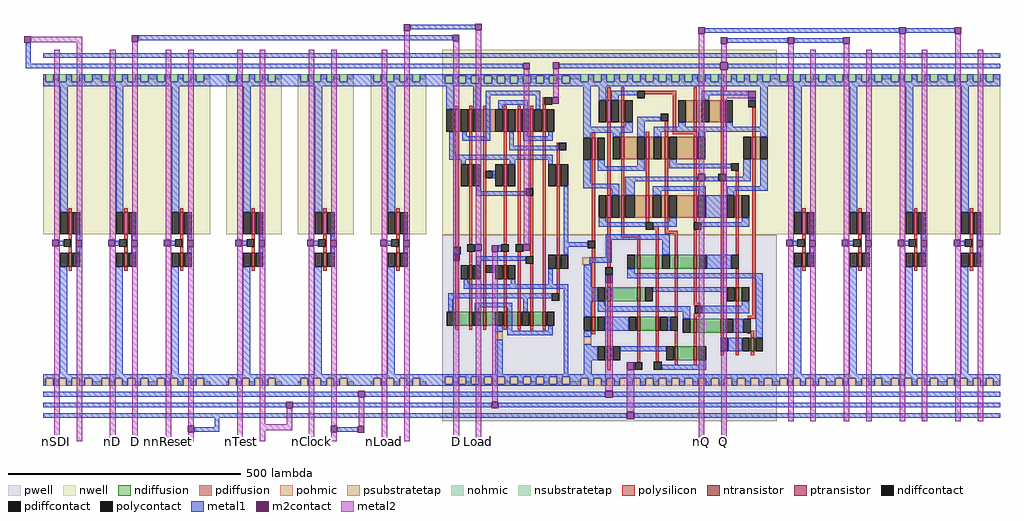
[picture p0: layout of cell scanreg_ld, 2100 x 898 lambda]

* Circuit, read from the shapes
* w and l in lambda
.subckt scanreg_ld Clock D GND! Load Q SDI Test Vdd! nClock nD nLoad nQ nReset nSDI nTest nnReset
M1 SDI nSDI GND! VSUBS nfet w=30 l=7
M2 D nD GND! VSUBS nfet w=30 l=7
M3 nReset nnReset GND! VSUBS nfet w=30 l=7
M4 Test nTest GND! VSUBS nfet w=30 l=7
M5 Clock nClock GND! VSUBS nfet w=30 l=7
M6 Load nLoad GND! VSUBS nfet w=30 l=7
M7 n1 D n2 VSUBS nfet w=30 l=7
M8 n3 Load n1 VSUBS nfet w=30 l=7
M9 n4 Load GND! VSUBS nfet w=30 l=7
M10 n5 n6 n3 VSUBS nfet w=30 l=7
M11 n7 Test n5 VSUBS nfet w=30 l=7
M12 GND! Test n6 VSUBS nfet w=30 l=7
M13 n2 SDI n7 VSUBS nfet w=30 l=7
M14 n8 n4 n2 VSUBS nfet w=30 l=7
M15 n3 Q n8 VSUBS nfet w=30 l=7
M16 n9 n2 GND! VSUBS nfet w=30 l=7
M17 n10 n9 n11 VSUBS nfet w=30 l=7
M18 n12 Clock GND! VSUBS nfet w=30 l=7
M19 n13 Clock n11 VSUBS nfet w=30 l=7
M20 n14 nReset n10 VSUBS nfet w=30 l=7
M21 n15 nReset n13 VSUBS nfet w=30 l=7
M22 n16 nReset n17 VSUBS nfet w=30 l=7
M23 n18 n19 n14 VSUBS nfet w=30 l=7
M24 n11 n19 n16 VSUBS nfet w=30 l=7
M25 n20 n18 n12 VSUBS nfet w=30 l=7
M26 n21 n18 n11 VSUBS nfet w=30 l=7
M27 n19 n22 n20 VSUBS nfet w=30 l=7
M28 n23 n22 n11 VSUBS nfet w=30 l=7
M29 n24 n22 n21 VSUBS nfet w=30 l=7
M30 Q nQ n23 VSUBS nfet w=30 l=7
M31 n22 n24 n15 VSUBS nfet w=30 l=7
M32 n17 Q nQ VSUBS nfet w=30 l=7
M33 inv_5/Y Q GND! VSUBS nfet w=30 l=7
M34 inv_6/Y Q GND! VSUBS nfet w=30 l=7
M35 inv_7/Y nQ GND! VSUBS nfet w=30 l=7
M36 inv_8/Y nQ GND! VSUBS nfet w=30 l=7
M37 SDI nSDI Vdd! n25 pfet w=48 l=7
M38 D nD Vdd! n25 pfet w=48 l=7
M39 nReset nnReset Vdd! n25 pfet w=48 l=7
M40 Test nTest Vdd! n26 pfet w=48 l=7
M41 Clock nClock Vdd! n27 pfet w=48 l=7
M42 Load nLoad Vdd! n28 pfet w=48 l=7
M43 n29 D Vdd! n30 pfet w=48 l=7
M44 n4 Load Vdd! n30 pfet w=48 l=7
M45 Vdd! Load n29 n30 pfet w=48 l=7
M46 n31 n6 Vdd! n30 pfet w=48 l=7
M47 Vdd! Test n6 n30 pfet w=48 l=7
M48 n2 Test n31 n30 pfet w=48 l=7
M49 n31 SDI n2 n30 pfet w=48 l=7
M50 n29 n4 n31 n30 pfet w=48 l=7
M51 n31 Q n29 n30 pfet w=48 l=7
M52 n9 n2 Vdd! n30 pfet w=48 l=7
M53 n18 n9 Vdd! n30 pfet w=48 l=7
M54 Vdd! Clock n19 n30 pfet w=48 l=7
M55 n22 Clock Vdd! n30 pfet w=48 l=7
M56 nQ nReset Vdd! n30 pfet w=48 l=7
M57 n18 nReset Vdd! n30 pfet w=48 l=7
M58 Vdd! nReset n22 n30 pfet w=48 l=7
M59 Vdd! n19 nQ n30 pfet w=48 l=7
M60 Vdd! n19 n18 n30 pfet w=48 l=7
M61 n19 n18 Vdd! n30 pfet w=48 l=7
M62 n24 n18 Vdd! n30 pfet w=48 l=7
M63 Vdd! n22 n19 n30 pfet w=48 l=7
M64 Vdd! n22 n24 n30 pfet w=48 l=7
M65 Q n22 Vdd! n30 pfet w=48 l=7
M66 Vdd! nQ Q n30 pfet w=48 l=7
M67 n22 n24 Vdd! n30 pfet w=48 l=7
M68 Vdd! Q nQ n30 pfet w=48 l=7
M69 inv_5/Y Q Vdd! n30 pfet w=48 l=7
M70 inv_6/Y Q Vdd! n30 pfet w=48 l=7
M71 inv_7/Y nQ Vdd! n30 pfet w=48 l=7
M72 inv_8/Y nQ Vdd! n30 pfet w=48 l=7
.ends

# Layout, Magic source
magic
tech c035u
<< pwell >>
rect 1452 0 1464 43
rect 1500 0 1512 43
<< metal1 >>
rect 831 886 971 896
rect 1465 879 1883 889
rect 1897 879 2003 889
rect 246 863 922 873
rect 4 812 14 857
rect 1513 857 1643 867
rect 1657 857 1763 867
rect 401 825 435 835
rect 555 825 589 835
rect 709 825 746 835
rect 866 825 900 835
rect 4 802 41 812
rect 401 802 435 812
rect 555 802 589 812
rect 709 802 746 812
rect 866 802 900 812
rect 401 764 435 789
rect 555 764 589 789
rect 709 764 746 789
rect 866 764 900 789
rect 401 119 435 144
rect 555 119 589 144
rect 709 119 746 144
rect 866 119 900 144
rect 401 96 435 106
rect 555 96 589 106
rect 709 96 719 106
rect 733 96 746 106
rect 866 96 900 106
rect 401 73 435 83
rect 555 73 564 83
rect 578 73 589 83
rect 709 73 746 83
rect 866 73 900 83
rect 401 50 435 60
rect 555 50 589 60
rect 709 50 746 60
rect 866 50 900 60
rect 410 30 420 50
rect 366 20 420 30
rect 674 20 718 30
<< m2contact >>
rect 817 883 831 897
rect 971 884 985 898
rect 1451 877 1465 891
rect 1883 877 1897 891
rect 2003 877 2017 891
rect 0 857 14 871
rect 232 859 246 873
rect 922 861 936 875
rect 1499 855 1513 869
rect 1643 855 1657 869
rect 1763 855 1777 869
rect 719 94 733 108
rect 564 71 578 85
rect 352 19 366 33
rect 660 19 674 33
rect 718 18 732 32
<< metal2 >>
rect 14 858 125 870
rect 113 842 125 858
rect 233 842 245 859
rect 818 842 830 883
rect 924 842 936 861
rect 972 842 984 884
rect 1452 842 1464 877
rect 1500 842 1512 855
rect 1644 842 1656 855
rect 1764 842 1776 855
rect 1884 842 1896 877
rect 2004 842 2016 877
rect 65 0 77 43
rect 113 0 125 43
rect 185 0 197 43
rect 233 0 245 43
rect 305 0 317 43
rect 353 33 365 43
rect 353 0 365 19
rect 459 0 471 43
rect 507 36 519 43
rect 565 36 577 71
rect 507 24 577 36
rect 507 0 519 24
rect 613 0 625 43
rect 661 33 673 43
rect 720 32 732 94
rect 661 0 673 19
rect 770 0 782 43
rect 818 0 830 43
rect 924 0 936 43
rect 972 0 984 43
rect 1452 0 1464 43
rect 1500 0 1512 43
use inv inv_0
transform 1 0 41 0 1 43
box 0 0 120 799
use inv inv_1
transform 1 0 161 0 1 43
box 0 0 120 799
use inv inv_2
transform 1 0 281 0 1 43
box 0 0 120 799
use inv inv_3
transform 1 0 435 0 1 43
box 0 0 120 799
use inv inv_4
transform 1 0 589 0 1 43
box 0 0 120 799
use inv inv_9
transform 1 0 746 0 1 43
box 0 0 120 799
use scanreg scanreg_0
transform 1 0 900 0 1 43
box 0 0 720 799
use inv inv_5
transform 1 0 1620 0 1 43
box 0 0 120 799
use inv inv_6
transform 1 0 1740 0 1 43
box 0 0 120 799
use inv inv_7
transform 1 0 1860 0 1 43
box 0 0 120 799
use inv inv_8
transform 1 0 1980 0 1 43
box 0 0 120 799
<< labels >>
rlabel metal2 613 0 625 0 1 nClock
rlabel metal2 459 0 471 0 1 nTest
rlabel metal2 305 0 317 0 1 nnReset
rlabel metal2 185 0 197 0 1 nD
rlabel metal2 65 0 77 0 1 nSDI
rlabel metal2 661 0 673 0 1 Clock
rlabel metal2 507 0 519 0 1 Test
rlabel metal2 353 0 365 0 1 nReset
rlabel metal2 233 0 245 0 1 D
rlabel metal2 113 0 125 0 1 SDI
rlabel metal2 770 0 782 0 1 nLoad
rlabel metal2 818 0 830 0 1 Load
rlabel metal2 1500 0 1512 0 1 Q
rlabel metal2 1452 0 1464 0 1 nQ
rlabel metal2 924 0 936 0 1 D
rlabel metal2 972 0 984 0 1 Load
<< end >>

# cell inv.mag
magic
tech c035u
<< nwell >>
rect 0 402 120 746
<< polysilicon >>
rect 55 450 62 458
rect 55 391 62 402
rect 60 375 62 391
rect 55 362 62 375
rect 55 324 62 332
<< ndiffusion >>
rect 53 332 55 362
rect 62 332 64 362
<< pdiffusion >>
rect 53 402 55 450
rect 62 402 64 450
<< pohmic >>
rect 0 76 6 86
rect 22 76 34 86
rect 50 76 62 86
rect 78 76 90 86
rect 106 76 120 86
<< nohmic >>
rect 0 736 6 746
rect 22 736 34 746
rect 50 736 62 746
rect 78 736 90 746
rect 106 736 120 746
<< ntransistor >>
rect 55 332 62 362
<< ptransistor >>
rect 55 402 62 450
<< polycontact >>
rect 44 375 60 391
<< ndiffcontact >>
rect 37 332 53 362
rect 64 332 80 362
<< pdiffcontact >>
rect 37 402 53 450
rect 64 402 80 450
<< psubstratetap >>
rect 6 76 22 92
rect 34 76 50 92
rect 62 76 78 92
rect 90 76 106 92
<< nsubstratetap >>
rect 6 730 22 746
rect 34 730 50 746
rect 62 730 78 746
rect 90 730 106 746
<< metal1 >>
rect 0 782 120 792
rect 0 759 120 769
rect 0 730 6 746
rect 22 730 34 746
rect 50 730 62 746
rect 78 730 90 746
rect 106 730 120 746
rect 0 721 120 730
rect 37 450 53 721
rect 34 378 44 388
rect 70 389 80 402
rect 70 362 80 375
rect 36 101 52 332
rect 0 92 120 101
rect 0 76 6 92
rect 22 76 34 92
rect 50 76 62 92
rect 78 76 90 92
rect 106 76 120 92
rect 0 53 120 63
rect 0 30 120 40
rect 0 7 120 17
<< m2contact >>
rect 20 376 34 390
rect 70 375 84 389
<< metal2 >>
rect 24 390 36 799
rect 34 376 36 390
rect 72 389 84 799
rect 24 0 36 376
rect 72 0 84 375
<< labels >>
rlabel metal1 0 721 0 746 7 Vdd!
rlabel metal1 0 759 0 769 7 Scan
rlabel metal1 0 782 0 792 6 ScanReturn
rlabel metal1 120 721 120 746 7 Vdd!
rlabel metal1 120 759 120 769 7 Scan
rlabel metal1 120 782 120 792 6 ScanReturn
rlabel metal2 24 799 36 799 5 A
rlabel metal2 72 799 84 799 5 Y
rlabel metal1 0 76 0 101 7 GND!
rlabel metal1 0 53 0 63 7 Clock
rlabel metal1 0 30 0 40 7 Test
rlabel metal1 0 7 0 17 8 nReset
rlabel metal1 120 7 120 17 8 nReset
rlabel metal1 120 30 120 40 7 Test
rlabel metal1 120 53 120 63 7 Clock
rlabel metal1 120 76 120 101 7 GND!
rlabel metal2 24 0 36 0 1 A
rlabel metal2 72 0 84 0 1 Y
<< end >>

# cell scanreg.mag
magic
tech c035u
<< nwell >>
rect 0 401 720 799
<< pwell >>
rect 0 0 720 401
<< polysilicon >>
rect 216 681 221 697
rect 355 691 362 719
rect 385 691 392 719
rect 436 704 503 711
rect 28 671 35 679
rect 58 671 65 679
rect 88 671 95 679
rect 132 671 139 679
rect 162 671 169 679
rect 189 671 196 679
rect 216 671 223 681
rect 28 375 35 623
rect 58 553 65 623
rect 88 539 95 623
rect 132 553 139 623
rect 88 523 93 539
rect 58 381 65 505
rect 28 235 35 359
rect 58 335 65 365
rect 88 335 95 523
rect 132 381 139 505
rect 162 381 169 623
rect 189 501 196 623
rect 132 335 139 365
rect 88 319 93 335
rect 58 235 65 305
rect 88 235 95 319
rect 132 235 139 305
rect 162 235 169 365
rect 189 355 196 485
rect 189 235 196 339
rect 216 235 223 623
rect 322 610 329 621
rect 246 583 251 599
rect 246 553 253 583
rect 246 358 253 505
rect 322 388 329 562
rect 355 486 362 643
rect 385 612 392 643
rect 438 612 445 623
rect 479 612 486 645
rect 496 624 503 704
rect 541 691 548 719
rect 599 691 606 719
rect 541 624 548 643
rect 496 617 548 624
rect 541 612 548 617
rect 385 486 392 564
rect 438 486 445 564
rect 479 486 486 564
rect 541 486 548 564
rect 599 532 606 643
rect 667 612 674 675
rect 246 275 253 328
rect 251 259 253 275
rect 322 225 329 372
rect 355 331 362 438
rect 385 402 392 438
rect 438 428 445 438
rect 454 412 466 419
rect 385 395 426 402
rect 419 358 426 395
rect 459 358 466 412
rect 479 410 486 438
rect 541 428 548 438
rect 479 403 507 410
rect 500 358 507 403
rect 541 358 548 412
rect 355 288 362 315
rect 419 288 426 328
rect 28 197 35 205
rect 58 197 65 205
rect 88 197 95 205
rect 132 197 139 205
rect 162 197 169 205
rect 189 197 196 205
rect 216 197 223 205
rect 322 187 329 195
rect 355 161 362 258
rect 419 225 426 258
rect 459 225 466 328
rect 500 225 507 328
rect 541 255 548 328
rect 541 248 555 255
rect 541 225 555 232
rect 541 220 548 225
rect 599 220 606 516
rect 631 486 638 539
rect 631 358 638 438
rect 631 288 638 328
rect 355 110 362 131
rect 419 127 426 195
rect 459 128 466 195
rect 500 161 507 195
rect 541 161 548 190
rect 599 180 606 190
rect 599 142 606 150
rect 631 142 638 258
rect 667 227 674 564
rect 657 220 674 227
rect 664 190 671 195
rect 657 188 671 190
rect 664 180 671 188
rect 664 142 671 150
rect 500 120 507 131
rect 541 120 548 131
<< ndiffusion >>
rect 56 305 58 335
rect 65 305 67 335
rect 130 305 132 335
rect 139 305 141 335
rect 244 328 246 358
rect 253 328 255 358
rect 26 205 28 235
rect 35 205 58 235
rect 65 205 67 235
rect 83 205 88 235
rect 95 205 114 235
rect 130 205 132 235
rect 139 205 162 235
rect 169 205 171 235
rect 187 205 189 235
rect 196 205 216 235
rect 223 205 225 235
rect 414 328 419 358
rect 426 328 459 358
rect 466 328 473 358
rect 489 328 500 358
rect 507 328 541 358
rect 548 328 553 358
rect 350 258 355 288
rect 362 258 419 288
rect 426 258 437 288
rect 320 195 322 225
rect 329 195 334 225
rect 417 195 419 225
rect 426 195 459 225
rect 466 195 469 225
rect 629 258 631 288
rect 638 258 644 288
rect 350 131 355 161
rect 362 131 367 161
rect 533 190 541 220
rect 548 190 599 220
rect 606 190 610 220
rect 498 131 500 161
rect 507 131 541 161
rect 548 131 552 161
rect 661 150 664 180
rect 671 150 674 180
<< pdiffusion >>
rect 26 623 28 671
rect 35 623 40 671
rect 56 623 58 671
rect 65 623 67 671
rect 83 623 88 671
rect 95 623 114 671
rect 130 623 132 671
rect 139 623 141 671
rect 157 623 162 671
rect 169 623 171 671
rect 187 623 189 671
rect 196 623 198 671
rect 214 623 216 671
rect 223 623 225 671
rect 353 643 355 691
rect 362 643 364 691
rect 380 643 385 691
rect 392 643 394 691
rect 56 505 58 553
rect 65 505 67 553
rect 130 505 132 553
rect 139 505 141 553
rect 319 562 322 610
rect 329 562 334 610
rect 244 505 246 553
rect 253 505 255 553
rect 524 643 541 691
rect 548 643 558 691
rect 574 643 599 691
rect 606 643 609 691
rect 383 564 385 612
rect 392 564 420 612
rect 436 564 438 612
rect 445 564 455 612
rect 471 564 479 612
rect 486 564 488 612
rect 504 564 541 612
rect 548 564 550 612
rect 664 564 667 612
rect 674 564 684 612
rect 353 438 355 486
rect 362 438 365 486
rect 381 438 385 486
rect 392 438 394 486
rect 414 438 438 486
rect 445 438 453 486
rect 471 438 479 486
rect 486 438 488 486
rect 504 438 541 486
rect 548 438 551 486
rect 628 438 631 486
rect 638 438 644 486
<< pohmic >>
rect 0 79 6 86
rect 22 79 34 86
rect 50 79 62 86
rect 78 79 90 86
rect 106 79 118 86
rect 134 79 146 86
rect 162 79 174 86
rect 190 79 202 86
rect 218 79 230 86
rect 246 79 258 86
rect 274 79 298 86
rect 0 76 298 79
rect 314 76 326 86
rect 342 76 354 86
rect 370 76 382 86
rect 398 76 410 86
rect 426 76 438 86
rect 454 76 466 86
rect 482 76 494 86
rect 510 76 522 86
rect 539 76 551 86
rect 567 76 579 86
rect 595 76 607 86
rect 623 76 635 86
rect 652 76 664 86
rect 681 76 693 86
rect 710 76 720 86
<< nohmic >>
rect 0 743 298 746
rect 0 736 6 743
rect 22 736 34 743
rect 50 736 62 743
rect 78 736 90 743
rect 106 736 118 743
rect 134 736 146 743
rect 162 736 174 743
rect 190 736 202 743
rect 218 736 230 743
rect 246 736 258 743
rect 274 736 298 743
rect 314 736 326 746
rect 342 736 354 746
rect 370 736 382 746
rect 398 736 410 746
rect 426 736 438 746
rect 454 736 466 746
rect 482 736 494 746
rect 510 736 522 746
rect 538 736 550 746
rect 566 736 578 746
rect 594 736 606 746
rect 622 736 634 746
rect 650 736 662 746
rect 678 736 690 746
rect 706 736 720 746
<< ntransistor >>
rect 58 305 65 335
rect 132 305 139 335
rect 246 328 253 358
rect 28 205 35 235
rect 58 205 65 235
rect 88 205 95 235
rect 132 205 139 235
rect 162 205 169 235
rect 189 205 196 235
rect 216 205 223 235
rect 419 328 426 358
rect 459 328 466 358
rect 500 328 507 358
rect 541 328 548 358
rect 355 258 362 288
rect 419 258 426 288
rect 322 195 329 225
rect 419 195 426 225
rect 459 195 466 225
rect 631 258 638 288
rect 355 131 362 161
rect 541 190 548 220
rect 599 190 606 220
rect 500 131 507 161
rect 541 131 548 161
rect 664 150 671 180
<< ptransistor >>
rect 28 623 35 671
rect 58 623 65 671
rect 88 623 95 671
rect 132 623 139 671
rect 162 623 169 671
rect 189 623 196 671
rect 216 623 223 671
rect 355 643 362 691
rect 385 643 392 691
rect 58 505 65 553
rect 132 505 139 553
rect 322 562 329 610
rect 246 505 253 553
rect 541 643 548 691
rect 599 643 606 691
rect 385 564 392 612
rect 438 564 445 612
rect 479 564 486 612
rect 541 564 548 612
rect 667 564 674 612
rect 355 438 362 486
rect 385 438 392 486
rect 438 438 445 486
rect 479 438 486 486
rect 541 438 548 486
rect 631 438 638 486
<< polycontact >>
rect 221 681 237 697
rect 420 695 436 711
rect 470 645 486 661
rect 93 523 109 539
rect 24 359 40 375
rect 54 365 70 381
rect 180 485 196 501
rect 127 365 143 381
rect 158 365 174 381
rect 93 319 109 335
rect 180 339 196 355
rect 251 583 267 599
rect 658 675 674 691
rect 622 539 638 555
rect 594 516 610 532
rect 313 372 329 388
rect 235 259 251 275
rect 438 412 454 428
rect 541 412 557 428
rect 351 315 367 331
rect 543 232 559 248
rect 491 195 507 225
rect 622 328 638 358
rect 599 150 615 180
rect 648 190 664 220
rect 414 111 430 127
rect 455 111 472 128
<< ndiffcontact >>
rect 40 305 56 335
rect 67 305 83 335
rect 114 305 130 335
rect 141 305 157 335
rect 228 328 244 358
rect 255 328 271 358
rect 10 205 26 235
rect 67 205 83 235
rect 114 205 130 235
rect 171 205 187 235
rect 225 205 241 235
rect 398 328 414 358
rect 473 328 489 358
rect 553 328 569 358
rect 334 258 350 288
rect 437 258 453 288
rect 304 195 320 225
rect 334 195 350 225
rect 401 195 417 225
rect 469 195 485 225
rect 613 258 629 288
rect 644 258 660 288
rect 334 131 350 161
rect 367 131 383 161
rect 517 190 533 220
rect 610 190 626 220
rect 482 131 498 161
rect 552 131 568 161
rect 645 150 661 180
rect 674 150 690 180
<< pdiffcontact >>
rect 9 623 26 671
rect 40 623 56 671
rect 67 623 83 671
rect 114 623 130 671
rect 141 623 157 671
rect 171 623 187 671
rect 198 623 214 671
rect 225 623 241 671
rect 337 643 353 691
rect 364 643 380 691
rect 394 643 410 691
rect 40 505 56 553
rect 67 505 83 553
rect 114 505 130 553
rect 141 505 157 553
rect 303 562 319 610
rect 334 562 350 610
rect 228 505 244 553
rect 255 505 271 553
rect 508 643 524 691
rect 558 643 574 691
rect 609 643 625 691
rect 367 564 383 612
rect 420 564 436 612
rect 455 564 471 612
rect 488 564 504 612
rect 550 564 566 612
rect 648 564 664 612
rect 684 564 700 612
rect 337 438 353 486
rect 365 438 381 486
rect 394 438 414 486
rect 453 438 471 486
rect 488 438 504 486
rect 551 438 567 486
rect 612 438 628 486
rect 644 438 661 486
<< psubstratetap >>
rect 301 337 317 353
rect 114 175 130 192
rect 304 166 320 182
rect 6 79 22 96
rect 34 79 50 96
rect 62 79 78 96
rect 90 79 106 96
rect 118 79 134 96
rect 146 79 162 96
rect 174 79 190 96
rect 202 79 218 96
rect 230 79 246 96
rect 258 79 274 96
rect 298 76 314 92
rect 326 76 342 92
rect 354 76 370 92
rect 382 76 398 92
rect 410 76 426 92
rect 438 76 454 92
rect 466 76 482 92
rect 494 76 510 92
rect 522 76 539 92
rect 551 76 567 92
rect 579 76 595 92
rect 607 76 623 92
rect 635 76 652 92
rect 664 76 681 92
rect 693 76 710 92
<< nsubstratetap >>
rect 6 727 22 743
rect 34 727 50 743
rect 62 727 78 743
rect 90 727 106 743
rect 118 727 134 743
rect 146 727 162 743
rect 174 727 190 743
rect 202 727 218 743
rect 230 727 246 743
rect 258 727 274 743
rect 298 730 314 746
rect 326 730 342 746
rect 354 730 370 746
rect 382 730 398 746
rect 410 730 426 746
rect 438 730 454 746
rect 466 730 482 746
rect 494 730 510 746
rect 522 730 538 746
rect 550 730 566 746
rect 578 730 594 746
rect 606 730 622 746
rect 634 730 650 746
rect 662 730 678 746
rect 690 730 706 746
<< metal1 >>
rect 0 782 720 792
rect 0 759 174 769
rect 252 759 598 769
rect 614 759 720 769
rect 0 743 298 746
rect 0 727 6 743
rect 22 727 34 743
rect 50 727 62 743
rect 78 727 90 743
rect 106 727 118 743
rect 134 727 146 743
rect 162 727 174 743
rect 190 727 202 743
rect 218 727 230 743
rect 246 727 258 743
rect 274 730 298 743
rect 314 730 326 746
rect 342 730 354 746
rect 370 730 382 746
rect 398 730 410 746
rect 426 730 438 746
rect 454 730 466 746
rect 482 730 494 746
rect 510 730 522 746
rect 538 730 550 746
rect 566 730 578 746
rect 594 730 606 746
rect 622 730 634 746
rect 650 730 662 746
rect 678 730 690 746
rect 706 730 720 746
rect 274 727 720 730
rect 0 721 720 727
rect 9 671 26 721
rect 67 671 83 721
rect 93 701 211 711
rect 15 573 26 623
rect 43 613 53 623
rect 93 613 103 701
rect 120 681 184 691
rect 120 671 130 681
rect 174 671 184 681
rect 201 671 211 701
rect 303 634 319 721
rect 337 691 353 721
rect 364 701 420 711
rect 364 691 380 701
rect 558 701 658 711
rect 558 691 574 701
rect 658 691 674 695
rect 303 633 320 634
rect 394 633 410 643
rect 43 603 103 613
rect 144 593 154 623
rect 174 613 184 623
rect 228 613 238 623
rect 174 603 238 613
rect 303 621 410 633
rect 420 645 470 655
rect 303 610 319 621
rect 367 612 383 621
rect 144 583 251 593
rect 15 563 238 573
rect 40 553 50 563
rect 145 553 157 563
rect 109 523 114 539
rect 228 553 238 563
rect 73 495 83 505
rect 73 485 180 495
rect 261 385 271 505
rect 303 511 319 562
rect 420 612 436 645
rect 508 633 524 643
rect 609 633 625 643
rect 684 633 700 721
rect 455 623 700 633
rect 455 612 471 623
rect 550 612 566 623
rect 684 612 700 623
rect 334 549 350 562
rect 420 549 436 564
rect 334 539 436 549
rect 488 554 504 564
rect 488 544 622 554
rect 394 516 550 526
rect 566 516 594 526
rect 648 526 664 564
rect 610 516 664 526
rect 303 501 381 511
rect 365 486 381 501
rect 394 486 414 516
rect 684 506 700 564
rect 453 496 567 506
rect 453 486 471 496
rect 551 486 567 496
rect 612 496 700 506
rect 612 486 628 496
rect 567 438 612 486
rect 337 428 353 438
rect 488 428 504 438
rect 644 428 661 438
rect 337 418 438 428
rect 454 418 504 428
rect 557 418 661 428
rect 352 390 489 402
rect 120 365 127 379
rect 261 375 313 385
rect 261 358 271 375
rect 73 345 180 355
rect 73 335 83 345
rect 109 319 114 335
rect 46 295 56 305
rect 147 295 157 305
rect 352 353 365 390
rect 473 358 489 390
rect 317 341 365 353
rect 317 337 320 341
rect 228 295 238 328
rect 46 285 271 295
rect 13 265 235 275
rect 13 235 23 265
rect 70 245 150 255
rect 70 235 80 245
rect 114 192 130 205
rect 140 195 150 245
rect 174 235 184 265
rect 228 195 238 205
rect 140 185 238 195
rect 114 101 130 175
rect 261 101 271 285
rect 304 288 320 337
rect 351 314 367 315
rect 569 328 622 358
rect 398 318 414 328
rect 398 308 690 318
rect 304 258 334 288
rect 453 278 613 288
rect 304 225 320 258
rect 334 247 350 258
rect 644 248 660 258
rect 334 235 533 247
rect 350 195 401 225
rect 485 195 491 225
rect 517 220 533 235
rect 559 232 660 248
rect 304 182 320 195
rect 626 190 648 220
rect 674 180 690 308
rect 304 161 320 166
rect 304 131 334 161
rect 383 151 482 161
rect 615 150 645 180
rect 304 101 322 131
rect 413 111 414 127
rect 552 121 568 131
rect 472 111 568 121
rect 0 96 720 101
rect 0 79 6 96
rect 22 79 34 96
rect 50 79 62 96
rect 78 79 90 96
rect 106 79 118 96
rect 134 79 146 96
rect 162 79 174 96
rect 190 79 202 96
rect 218 79 230 96
rect 246 79 258 96
rect 274 92 720 96
rect 274 79 298 92
rect 0 76 298 79
rect 314 76 326 92
rect 342 76 354 92
rect 370 76 382 92
rect 398 76 410 92
rect 426 76 438 92
rect 454 76 466 92
rect 482 76 494 92
rect 510 76 522 92
rect 539 76 551 92
rect 567 76 579 92
rect 595 76 607 92
rect 623 76 635 92
rect 652 76 664 92
rect 681 76 693 92
rect 710 76 720 92
rect 0 53 351 63
rect 367 53 720 63
rect 0 30 106 40
rect 120 30 720 40
rect 0 7 397 17
rect 413 7 720 17
<< m2contact >>
rect 174 757 188 771
rect 238 758 252 772
rect 598 756 614 772
rect 237 683 251 697
rect 658 695 674 711
rect 550 516 566 532
rect 70 367 85 381
rect 106 365 120 379
rect 174 367 188 381
rect 24 345 38 359
rect 351 298 367 314
rect 397 111 413 127
rect 351 50 367 66
rect 106 28 120 42
rect 397 4 413 20
<< metal2 >>
rect 24 359 36 799
rect 72 381 84 799
rect 175 743 187 757
rect 174 727 187 743
rect 175 381 187 727
rect 239 697 251 758
rect 552 532 564 799
rect 600 772 612 799
rect 600 711 612 756
rect 600 695 658 711
rect 24 0 36 345
rect 72 0 84 367
rect 107 42 119 365
rect 351 66 367 298
rect 397 20 413 111
rect 552 0 564 516
rect 600 0 612 695
<< labels >>
rlabel metal1 0 782 0 792 3 ScanReturn
rlabel metal1 0 759 0 769 3 SDI
rlabel metal1 0 721 0 746 3 Vdd!
rlabel metal2 24 799 36 799 5 D
rlabel metal1 0 76 0 101 3 GND!
rlabel metal1 0 30 0 40 3 Test
rlabel metal1 0 7 0 17 2 nReset
rlabel metal1 0 53 0 63 3 Clock
rlabel metal2 24 0 36 0 1 D
rlabel metal2 72 0 84 0 1 Load
rlabel metal2 72 799 84 799 5 Load
rlabel metal1 720 782 720 792 7 ScanReturn
rlabel metal1 720 759 720 769 7 Q
rlabel metal1 720 76 720 101 7 GND!
rlabel metal1 720 53 720 63 7 Clock
rlabel metal1 720 30 720 40 7 Test
rlabel metal1 720 7 720 17 7 nReset
rlabel metal1 720 721 720 746 7 Vdd!
rlabel metal2 552 0 564 0 1 nQ
rlabel metal2 600 0 612 0 1 Q
rlabel metal2 600 799 612 799 5 Q
rlabel metal2 552 799 564 799 5 nQ
<< end >>
